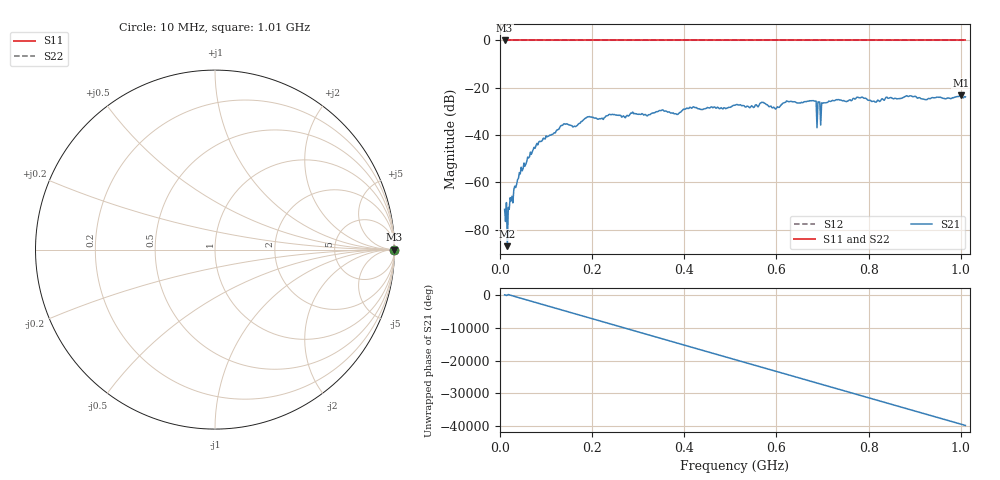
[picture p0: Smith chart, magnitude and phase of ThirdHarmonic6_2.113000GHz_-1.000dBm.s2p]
! 8/17/2025 1:16:14 AM
! C:\ANRITSUVNA\TEMP\TEMP.S2P
! CHANNEL.1
! TR.MEASUREMENT
! RAW.DATA
! RF.CORRECTION.OFF
! AVERAGING.OFF
! IF.BANDWIDTH: 5KHZ
! SWEEPTYPE:  FREQ.SWEEP(Linear)
! Reference Plane Port Info
! PORT:  PORT1  PORT2
! DISTANCE:  0  m  0  m
! TIME:  0  s  0  s
! PHASE.OFFSET:  0  deg.  0  deg.
! LOSS:  0  dB  0  dB
! REF.LOSS:  0  dB  0  dB
! REF.FREQ:  0  Hz  0  Hz
! Power Info
! POWER:  -20  dBm  -20  dBm
! EFF.POWER:  -20  dBm  -20  dBm
! SOURCE.ATTEN:  0  dB  0  dB
! TEST.ATTEN:  0  dB  0  dB
# GHZ S RI R 50.0
! FREQ.GHZ  S11RE  S11IM  S21RE  S21IM  S12RE  S12IM  S22RE  S22IM
!; PortSelection: Port_12
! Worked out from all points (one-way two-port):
!   501 points, 10 MHz to 1.01 GHz, reference 50 ohm
!   highest |S21| = -23.13 dB at 1 GHz (marker M1); lowest = -87.0 dB at 16 MHz (marker M2)
!   lowest |S11| = 0.0 dB at 10 MHz (marker M3)
!   |S11| at or under -10 dB: nowhere
!   |S22| runs from 0.0 to 0.0 dB; largest |S21 - S12| = 1.1
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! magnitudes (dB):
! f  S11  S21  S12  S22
! 10 MHz  0.0  -71.4  0.0  0.0
! 16 MHz  0.0  -87.0  0.0  0.0
! 42 MHz  0.0  -55.9  0.0  0.0
! 76 MHz  0.0  -45.6  0.0  0.0
! 136 MHz  0.0  -35.8  0.0  0.0
! 162 MHz  0.0  -36.2  0.0  0.0
! 178 MHz  0.0  -34.2  0.0  0.0
! 192 MHz  0.0  -32.3  0.0  0.0
! 344 MHz  0.0  -29.9  0.0  0.0
! 382 MHz  0.0  -31.0  0.0  0.0
! 416 MHz  0.0  -28.6  0.0  0.0
! 510 MHz  0.0  -27.4  0.0  0.0
! 570 MHz  0.0  -26.2  0.0  0.0
! 596 MHz  0.0  -28.6  0.0  0.0
! 622 MHz  0.0  -25.6  0.0  0.0
! 678 MHz  0.0  -25.5  0.0  0.0
! 692 MHz  0.0  -26.0  0.0  0.0
! 702 MHz  0.0  -26.4  0.0  0.0
! 718 MHz  0.0  -25.8  0.0  0.0
! 844 MHz  0.0  -24.4  0.0  0.0
! 1 GHz  0.0  -23.1  0.0  0.0
! 1.01 GHz  0.0  -23.8  0.0  0.0
